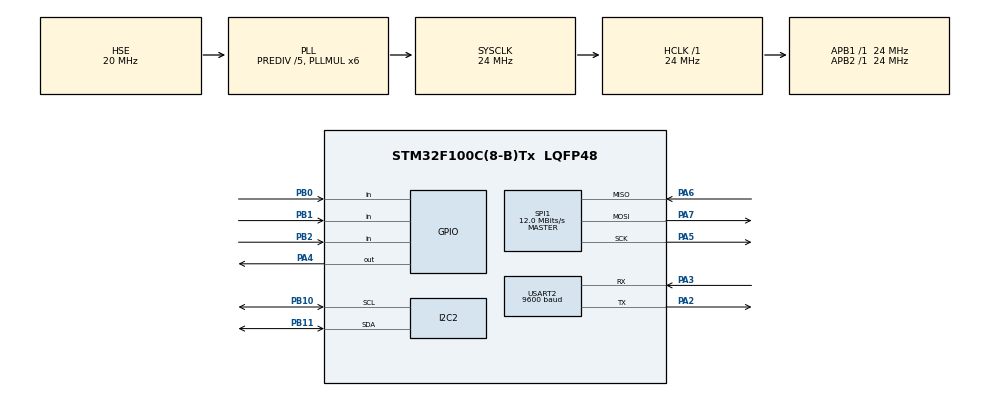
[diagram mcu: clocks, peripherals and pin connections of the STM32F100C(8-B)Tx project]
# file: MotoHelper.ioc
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Dma.I2C2_RX.0.Direction=DMA_PERIPH_TO_MEMORY
Dma.I2C2_RX.0.Instance=DMA1_Channel5
Dma.I2C2_RX.0.MemDataAlignment=DMA_MDATAALIGN_BYTE
Dma.I2C2_RX.0.MemInc=DMA_MINC_ENABLE
Dma.I2C2_RX.0.Mode=DMA_NORMAL
Dma.I2C2_RX.0.PeriphDataAlignment=DMA_PDATAALIGN_BYTE
Dma.I2C2_RX.0.PeriphInc=DMA_PINC_DISABLE
Dma.I2C2_RX.0.Priority=DMA_PRIORITY_LOW
Dma.I2C2_TX.1.Direction=DMA_MEMORY_TO_PERIPH
Dma.I2C2_TX.1.Instance=DMA1_Channel4
Dma.I2C2_TX.1.MemDataAlignment=DMA_MDATAALIGN_BYTE
Dma.I2C2_TX.1.MemInc=DMA_MINC_ENABLE
Dma.I2C2_TX.1.Mode=DMA_NORMAL
Dma.I2C2_TX.1.PeriphDataAlignment=DMA_PDATAALIGN_BYTE
Dma.I2C2_TX.1.PeriphInc=DMA_PINC_DISABLE
Dma.I2C2_TX.1.Priority=DMA_PRIORITY_LOW
Dma.Request0=I2C2_RX
Dma.Request1=I2C2_TX
Dma.Request2=USART2_TX
Dma.USART2_TX.2.Direction=DMA_MEMORY_TO_PERIPH
Dma.USART2_TX.2.Instance=DMA1_Channel7
Dma.USART2_TX.2.MemDataAlignment=DMA_MDATAALIGN_BYTE
Dma.USART2_TX.2.MemInc=DMA_MINC_ENABLE
Dma.USART2_TX.2.Mode=DMA_NORMAL
Dma.USART2_TX.2.PeriphDataAlignment=DMA_PDATAALIGN_BYTE
Dma.USART2_TX.2.PeriphInc=DMA_PINC_DISABLE
Dma.USART2_TX.2.Priority=DMA_PRIORITY_LOW
FREERTOS.INCLUDE_uxTaskPriorityGet=0
FREERTOS.INCLUDE_vTaskDelete=0
FREERTOS.INCLUDE_vTaskPrioritySet=0
FREERTOS.INCLUDE_vTaskSuspend=0
FREERTOS.Tasks01=defaultTask,0,128,StartDefaultTask,Default,NULL,Dynamic,NULL,NULL;accelTask,0,128,StartTaskAccel,Default,NULL,Dynamic,NULL,NULL;btTask,-1,128,StartTaskBt,Default,NULL,Dynamic,NULL,NULL
I2C2.OwnAddress=0x19
Mcu.Family=STM32F1
Mcu.Name=STM32F100C(8-B)Tx
Mcu.Package=LQFP48
NVIC.DMA1_Channel4_IRQn=true\:5\:0\:true\:false\:true\:true\:false\:true
NVIC.DMA1_Channel5_IRQn=true\:5\:0\:true\:false\:true\:true\:false\:true
NVIC.DMA1_Channel7_IRQn=true\:5\:0\:true\:false\:true\:true\:false\:true
NVIC.FLASH_IRQn=true\:5\:0\:false\:false\:true\:true\:true\:true
NVIC.I2C2_ER_IRQn=true\:6\:0\:true\:false\:true\:true\:true\:true
NVIC.I2C2_EV_IRQn=true\:6\:0\:true\:false\:true\:true\:true\:true
NVIC.PriorityGroup=NVIC_PRIORITYGROUP_4
NVIC.RCC_IRQn=true\:5\:0\:true\:false\:true\:true\:true\:false
NVIC.SPI1_IRQn=true\:5\:0\:true\:false\:true\:true\:true\:true
NVIC.TIM1_TRG_COM_TIM17_IRQn=true\:5\:0\:true\:false\:true\:true\:true\:true
NVIC.TIM1_UP_TIM16_IRQn=true\:7\:0\:true\:false\:true\:true\:true\:true
NVIC.TIM7_IRQn=true\:0\:0\:false\:false\:true\:false\:false\:true
NVIC.TimeBase=TIM7_IRQn
NVIC.TimeBaseIP=TIM7
NVIC.USART2_IRQn=true\:5\:0\:true\:false\:true\:true\:true\:true
PA0-WKUP.Mode=SYS_WakeUp0
PA0-WKUP.Signal=SYS_WKUP
PA10.Signal=USART1_RX
PA13.Mode=Serial_Wire
PA13.Signal=SYS_JTMS-SWDIO
PA14.Mode=Serial_Wire
PA14.Signal=SYS_JTCK-SWCLK
PA2.Mode=Asynchronous
PA2.Signal=USART2_TX
PA3.Mode=Asynchronous
PA3.Signal=USART2_RX
PA4.Signal=GPIO_Output
PA5.Mode=Full_Duplex_Master
PA5.Signal=SPI1_SCK
PA6.Mode=Full_Duplex_Master
PA6.Signal=SPI1_MISO
PA7.Mode=Full_Duplex_Master
PA7.Signal=SPI1_MOSI
PA9.Signal=USART1_TX
PB0.Signal=GPIO_Input
PB1.Signal=GPIO_Input
PB10.Mode=I2C
PB10.Signal=I2C2_SCL
PB11.Mode=I2C
PB11.Signal=I2C2_SDA
PB2.Signal=GPIO_Input
PD0-OSC_IN.Mode=HSE-External-Oscillator
PD0-OSC_IN.Signal=RCC_OSC_IN
PD1-OSC_OUT.Mode=HSE-External-Oscillator
PD1-OSC_OUT.Signal=RCC_OSC_OUT
ProjectManager.HeapSize=0x200
ProjectManager.StackSize=0x350
ProjectManager.TargetToolchain=SW4STM32
RCC.AHBFreq_Value=24000000
RCC.APB1Freq_Value=24000000
RCC.APB1TimFreq_Value=24000000
RCC.APB2Freq_Value=24000000
RCC.APB2TimFreq_Value=24000000
RCC.HCLKFreq_Value=24000000
RCC.HSEDivPLL=RCC_HSE_PREDIV_DIV5
RCC.HSE_VALUE=20000000
RCC.PLLMUL=RCC_PLL_MUL6
RCC.PLLSource=RCC_PLLSOURCE_HSE
RCC.SYSCLKFreq_VALUE=24000000
RCC.SYSCLKSource=RCC_SYSCLKSOURCE_PLLCLK
SPI1.BaudRatePrescaler=SPI_BAUDRATEPRESCALER_2
SPI1.CalculateBaudRate=12.0 MBits/s
SPI1.Direction=SPI_DIRECTION_2LINES
SPI1.Mode=SPI_MODE_MASTER
SPI1.VirtualType=VM_MASTER
USART2.BaudRate=9600
USART2.VirtualMode=VM_ASYNC
VP_FREERTOS_VS_CMSIS_V1.Mode=CMSIS_V1
VP_SYS_VS_tim7.Mode=TIM7
VP_TIM16_VS_ClockSourceINT.Mode=Enable_Timer
VP_TIM17_VS_ClockSourceINT.Mode=Enable_Timer
board=custom

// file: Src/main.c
/* USER CODE BEGIN Header */
/**
  ******************************************************************************
  * @file           : main.c
  * @brief          : Main program body
  ******************************************************************************
  * @attention
  *
  * <h2><center>&copy; Copyright (c) 2019 STMicroelectronics.
  * All rights reserved.</center></h2>
  *
  * This software component is licensed by ST under Ultimate Liberty license
  * SLA0044, the "License"; You may not use this file except in compliance with
  * the License. You may obtain a copy of the License at:
  *                             www.st.com/SLA0044
  *
  ******************************************************************************
  */
/* USER CODE END Header */

#include "main.h"
#include "cmsis_os.h"

/* USER CODE BEGIN Includes */
#include "common.h"
#include "accelerometer_manager.h"
#include "communication_manager.h"
#include "kernel.h"
#include "soft_timer.h"
/* USER CODE END Includes */

/* USER CODE BEGIN PD */
#define USE_FULL_ASSERT
/* USER CODE END PD */

I2C_HandleTypeDef hi2c2;
DMA_HandleTypeDef hdma_i2c2_rx;
DMA_HandleTypeDef hdma_i2c2_tx;

SPI_HandleTypeDef hspi1;

TIM_HandleTypeDef htim16;
TIM_HandleTypeDef htim17;

UART_HandleTypeDef huart2;
DMA_HandleTypeDef hdma_usart2_tx;

osThreadId defaultTaskHandle;
osThreadId accelTaskHandle;
osThreadId btTaskHandle;

void SystemClock_Config(void);
static void MX_GPIO_Init(void);
static void MX_DMA_Init(void);
static void MX_I2C2_Init(void);
static void MX_SPI1_Init(void);
static void MX_TIM16_Init(void);
static void MX_TIM17_Init(void);
static void MX_USART2_UART_Init(void);
void StartDefaultTask(void const * argument);
void StartTaskAccel(void const * argument);
void StartTaskBt(void const * argument);

int main(void)
{

  /* MCU Configuration--------------------------------------------------------*/

  /* Reset of all peripherals, Initializes the Flash interface and the Systick. */
  HAL_Init();

  /* Configure the system clock */
  SystemClock_Config();

  /* Initialize all configured peripherals */
  MX_GPIO_Init();
  MX_DMA_Init();
  MX_I2C2_Init();
  MX_SPI1_Init();
  MX_TIM16_Init();
  MX_TIM17_Init();
  MX_USART2_UART_Init();

  /* Create the thread(s) */
  /* definition and creation of defaultTask */
  osThreadDef(defaultTask, StartDefaultTask, osPriorityNormal, 0, 128);
  defaultTaskHandle = osThreadCreate(osThread(defaultTask), NULL);

  /* definition and creation of accelTask */
  osThreadDef(accelTask, StartTaskAccel, osPriorityNormal, 0, 128);
  accelTaskHandle = osThreadCreate(osThread(accelTask), NULL);

  /* definition and creation of btTask */
  osThreadDef(btTask, StartTaskBt, osPriorityBelowNormal, 0, 128);
  btTaskHandle = osThreadCreate(osThread(btTask), NULL);

  /* USER CODE BEGIN RTOS_THREADS */
	TimerConf_t result = calculatePeriodAndPrescaler(1000/SOFT_TIMER_MS_PER_TICK);
	htim16.Instance->PSC = result.Prescaler;
	htim16.Instance->ARR = result.Period;
	HAL_TIM_Base_Start_IT(&htim16);

	result=calculatePeriodAndPrescaler(ACCELEROMETER_FREQ);
	htim17.Instance->PSC = result.Prescaler;
	htim17.Instance->ARR = result.Period;
	HAL_TIM_Base_Start_IT(&htim17);
  /* USER CODE END RTOS_THREADS */

  /* Start scheduler */
  osKernelStart();

  /* We should never get here as control is now taken by the scheduler */

  /* Infinite loop */
  while (1)
  {

  }
}

void SystemClock_Config(void)
{
  RCC_OscInitTypeDef RCC_OscInitStruct = {0};
  RCC_ClkInitTypeDef RCC_ClkInitStruct = {0};

  /** Initializes the CPU, AHB and APB busses clocks
  */
  RCC_OscInitStruct.OscillatorType = RCC_OSCILLATORTYPE_HSE;
  RCC_OscInitStruct.HSEState = RCC_HSE_ON;
  RCC_OscInitStruct.HSEPredivValue = RCC_HSE_PREDIV_DIV5;
  RCC_OscInitStruct.PLL.PLLState = RCC_PLL_ON;
  RCC_OscInitStruct.PLL.PLLSource = RCC_PLLSOURCE_HSE;
  RCC_OscInitStruct.PLL.PLLMUL = RCC_PLL_MUL6;
  if (HAL_RCC_OscConfig(&RCC_OscInitStruct) != HAL_OK)
  {
    Error_Handler();
  }
  /** Initializes the CPU, AHB and APB busses clocks
  */
  RCC_ClkInitStruct.ClockType = RCC_CLOCKTYPE_HCLK|RCC_CLOCKTYPE_SYSCLK
                              |RCC_CLOCKTYPE_PCLK1|RCC_CLOCKTYPE_PCLK2;
  RCC_ClkInitStruct.SYSCLKSource = RCC_SYSCLKSOURCE_PLLCLK;
  RCC_ClkInitStruct.AHBCLKDivider = RCC_SYSCLK_DIV1;
  RCC_ClkInitStruct.APB1CLKDivider = RCC_HCLK_DIV1;
  RCC_ClkInitStruct.APB2CLKDivider = RCC_HCLK_DIV1;

  if (HAL_RCC_ClockConfig(&RCC_ClkInitStruct, FLASH_LATENCY_0) != HAL_OK)
  {
    Error_Handler();
  }
}

static void MX_I2C2_Init(void)
{

  hi2c2.Instance = I2C2;
  hi2c2.Init.ClockSpeed = 100000;
  hi2c2.Init.DutyCycle = I2C_DUTYCYCLE_2;
  hi2c2.Init.OwnAddress1 = 50;
  hi2c2.Init.AddressingMode = I2C_ADDRESSINGMODE_7BIT;
  hi2c2.Init.DualAddressMode = I2C_DUALADDRESS_DISABLE;
  hi2c2.Init.OwnAddress2 = 0;
  hi2c2.Init.GeneralCallMode = I2C_GENERALCALL_DISABLE;
  hi2c2.Init.NoStretchMode = I2C_NOSTRETCH_DISABLE;
  if (HAL_I2C_Init(&hi2c2) != HAL_OK)
  {
    Error_Handler();
  }

}

static void MX_SPI1_Init(void)
{

  /* SPI1 parameter configuration*/
  hspi1.Instance = SPI1;
  hspi1.Init.Mode = SPI_MODE_MASTER;
  hspi1.Init.Direction = SPI_DIRECTION_2LINES;
  hspi1.Init.DataSize = SPI_DATASIZE_8BIT;
  hspi1.Init.CLKPolarity = SPI_POLARITY_LOW;
  hspi1.Init.CLKPhase = SPI_PHASE_1EDGE;
  hspi1.Init.NSS = SPI_NSS_SOFT;
  hspi1.Init.BaudRatePrescaler = SPI_BAUDRATEPRESCALER_2;
  hspi1.Init.FirstBit = SPI_FIRSTBIT_MSB;
  hspi1.Init.TIMode = SPI_TIMODE_DISABLE;
  hspi1.Init.CRCCalculation = SPI_CRCCALCULATION_DISABLE;
  hspi1.Init.CRCPolynomial = 10;
  if (HAL_SPI_Init(&hspi1) != HAL_OK)
  {
    Error_Handler();
  }

}

static void MX_TIM16_Init(void)
{

  htim16.Instance = TIM16;
  htim16.Init.Prescaler = 0;
  htim16.Init.CounterMode = TIM_COUNTERMODE_UP;
  htim16.Init.Period = 0;
  htim16.Init.ClockDivision = TIM_CLOCKDIVISION_DIV1;
  htim16.Init.RepetitionCounter = 0;
  htim16.Init.AutoReloadPreload = TIM_AUTORELOAD_PRELOAD_DISABLE;
  if (HAL_TIM_Base_Init(&htim16) != HAL_OK)
  {
    Error_Handler();
  }

}

static void MX_TIM17_Init(void)
{

  htim17.Instance = TIM17;
  htim17.Init.Prescaler = 0;
  htim17.Init.CounterMode = TIM_COUNTERMODE_UP;
  htim17.Init.Period = 0;
  htim17.Init.ClockDivision = TIM_CLOCKDIVISION_DIV1;
  htim17.Init.RepetitionCounter = 0;
  htim17.Init.AutoReloadPreload = TIM_AUTORELOAD_PRELOAD_DISABLE;
  if (HAL_TIM_Base_Init(&htim17) != HAL_OK)
  {
    Error_Handler();
  }

}

static void MX_USART2_UART_Init(void)
{

  huart2.Instance = USART2;
  huart2.Init.BaudRate = 9600;
  huart2.Init.WordLength = UART_WORDLENGTH_8B;
  huart2.Init.StopBits = UART_STOPBITS_1;
  huart2.Init.Parity = UART_PARITY_NONE;
  huart2.Init.Mode = UART_MODE_TX_RX;
  huart2.Init.HwFlowCtl = UART_HWCONTROL_NONE;
  huart2.Init.OverSampling = UART_OVERSAMPLING_16;
  if (HAL_UART_Init(&huart2) != HAL_OK)
  {
    Error_Handler();
  }

}

static void MX_DMA_Init(void)
{

  /* DMA controller clock enable */
  __HAL_RCC_DMA1_CLK_ENABLE();

  /* DMA interrupt init */
  /* DMA1_Channel4_IRQn interrupt configuration */
  HAL_NVIC_SetPriority(DMA1_Channel4_IRQn, 5, 0);
  HAL_NVIC_EnableIRQ(DMA1_Channel4_IRQn);
  /* DMA1_Channel5_IRQn interrupt configuration */
  HAL_NVIC_SetPriority(DMA1_Channel5_IRQn, 5, 0);
  HAL_NVIC_EnableIRQ(DMA1_Channel5_IRQn);
  /* DMA1_Channel7_IRQn interrupt configuration */
  HAL_NVIC_SetPriority(DMA1_Channel7_IRQn, 5, 0);
  HAL_NVIC_EnableIRQ(DMA1_Channel7_IRQn);

}

static void MX_GPIO_Init(void)
{
  GPIO_InitTypeDef GPIO_InitStruct = {0};

  /* GPIO Ports Clock Enable */
  __HAL_RCC_GPIOD_CLK_ENABLE();
  __HAL_RCC_GPIOA_CLK_ENABLE();
  __HAL_RCC_GPIOB_CLK_ENABLE();

  /*Configure GPIO pin Output Level */
  HAL_GPIO_WritePin(GPIOA, GPIO_PIN_4, GPIO_PIN_RESET);

  /*Configure GPIO pin : PA4 */
  GPIO_InitStruct.Pin = GPIO_PIN_4;
  GPIO_InitStruct.Mode = GPIO_MODE_OUTPUT_PP;
  GPIO_InitStruct.Pull = GPIO_NOPULL;
  GPIO_InitStruct.Speed = GPIO_SPEED_FREQ_LOW;
  HAL_GPIO_Init(GPIOA, &GPIO_InitStruct);

  /*Configure GPIO pins : PB0 PB1 PB2 */
  GPIO_InitStruct.Pin = GPIO_PIN_0|GPIO_PIN_1|GPIO_PIN_2;
  GPIO_InitStruct.Mode = GPIO_MODE_INPUT;
  GPIO_InitStruct.Pull = GPIO_NOPULL;
  HAL_GPIO_Init(GPIOB, &GPIO_InitStruct);

  /*Configure GPIO pin : PA9 */
  GPIO_InitStruct.Pin = GPIO_PIN_9;
  GPIO_InitStruct.Mode = GPIO_MODE_AF_PP;
  GPIO_InitStruct.Speed = GPIO_SPEED_FREQ_HIGH;
  HAL_GPIO_Init(GPIOA, &GPIO_InitStruct);

  /*Configure GPIO pin : PA10 */
  GPIO_InitStruct.Pin = GPIO_PIN_10;
  GPIO_InitStruct.Mode = GPIO_MODE_INPUT;
  GPIO_InitStruct.Pull = GPIO_NOPULL;
  HAL_GPIO_Init(GPIOA, &GPIO_InitStruct);

}

/* USER CODE BEGIN 4 */
void HAL_UART_RxCpltCallback(UART_HandleTypeDef *huart) {
	if (huart->Instance == USART2){
		COMM_RxCallback();
	}
}

/* USER CODE END 4 */

void StartDefaultTask(void const * argument)
{
  /* USER CODE BEGIN 5 */
	KERNEL_Init();
	KERNEL_Task();
  /* Infinite loop */
  for(;;)
  {
    osDelay(1);
  }
  /* USER CODE END 5 */
}

void StartTaskAccel(void const * argument)
{
  /* USER CODE BEGIN StartTaskAccel */
	ACCEL_Init(&hi2c2, accelTaskHandle);
	ACCEL_Task();
  /* Infinite loop */
  for(;;)
  {
    osDelay(1);
  }
  /* USER CODE END StartTaskAccel */
}

void StartTaskBt(void const * argument)
{
  /* USER CODE BEGIN StartTaskBt */
	COMM_Driver_Init(&huart2, &hdma_usart2_tx, btTaskHandle);
	COMM_Init(btTaskHandle);
	COMM_Task();
  /* Infinite loop */
  for(;;)
  {
    osDelay(1);
  }
  /* USER CODE END StartTaskBt */
}

void HAL_TIM_PeriodElapsedCallback(TIM_HandleTypeDef *htim)
{
  /* USER CODE BEGIN Callback 0 */
  if (htim->Instance == TIM16) {
	  hardwareTimerInvoke();
  }
  if (htim->Instance == TIM17) {
	ACCEL_PeriodElapsedCallback();
  }
  /* USER CODE END Callback 0 */
  if (htim->Instance == TIM7) {
    HAL_IncTick();
  }
}

void Error_Handler(void)
{
}

/************************ (C) COPYRIGHT STMicroelectronics *****END OF FILE****/
